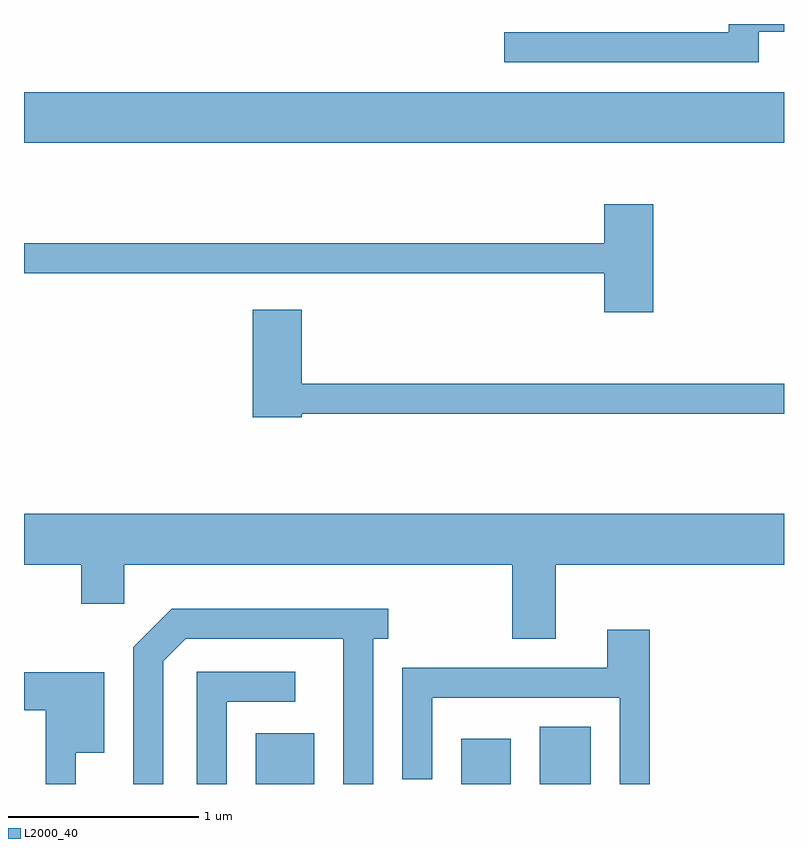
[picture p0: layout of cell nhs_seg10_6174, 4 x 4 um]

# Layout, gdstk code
import gdstk
lib = gdstk.Library(unit=1e-6, precision=1e-09)
def R(c, l, rs):  # rectangles x0, y0, x1, y1
    for r in rs: c.add(gdstk.rectangle(r[:2], r[2:], *l))
def P(c, l, *ps):  # polygons
    for p in ps: c.add(gdstk.Polygon(p, *l))
L2000_40 = (2000, 40)

nhs_seg10_6174 = lib.new_cell('nhs_seg10_6174')
R(nhs_seg10_6174, L2000_40, [(368.831,2130.522,369.139,2130.789), (369.911,2130.522,370.174,2130.759), (370.326,2130.522,370.594,2130.824), (367.611,2133.896,371.611,2134.164)])
P(nhs_seg10_6174, L2000_40, [(371.479,2134.481),(371.611,2134.481),(371.611,2134.522),(371.321,2134.522),(371.321,2134.479),(370.138,2134.479),(370.138,2134.321),(371.479,2134.321)],
  [(370.924,2133.574),(370.666,2133.574),(370.666,2133.369),(367.611,2133.369),(367.611,2133.211),(370.666,2133.211),(370.666,2133.006),(370.924,2133.006)],
  [(369.074,2132.471),(371.611,2132.471),(371.611,2132.629),(369.074,2132.629),(369.074,2133.019),(368.816,2133.019),(368.816,2132.451),(369.074,2132.451)],
  [(367.611,2131.676),(367.911,2131.676),(367.911,2131.471),(368.139,2131.471),(368.139,2131.676),(370.181,2131.676),(370.181,2131.286),(370.409,2131.286),(370.409,2131.676),(371.611,2131.676),(371.611,2131.944),(367.611,2131.944)],
  [(368.344,2131.169),(368.462,2131.286),(369.291,2131.286),(369.291,2130.522),(369.449,2130.522),(369.449,2131.286),(369.528,2131.286),(369.528,2131.444),(368.389,2131.444),(368.186,2131.242),(368.186,2130.522),(368.344,2130.522)],
  [(370.904,2131.334),(370.681,2131.334),(370.681,2131.134),(369.601,2131.134),(369.601,2130.548),(369.759,2130.548),(369.759,2130.976),(370.746,2130.976),(370.746,2130.522),(370.904,2130.522)],
  [(368.679,2130.956),(369.038,2130.956),(369.038,2131.114),(368.521,2131.114),(368.521,2130.522),(368.679,2130.522)],
  [(367.884,2130.686),(368.034,2130.686),(368.034,2131.109),(367.611,2131.109),(367.611,2130.911),(367.726,2130.911),(367.726,2130.522),(367.884,2130.522)])

lib.write_gds('nhs_seg10_6174.gds')
